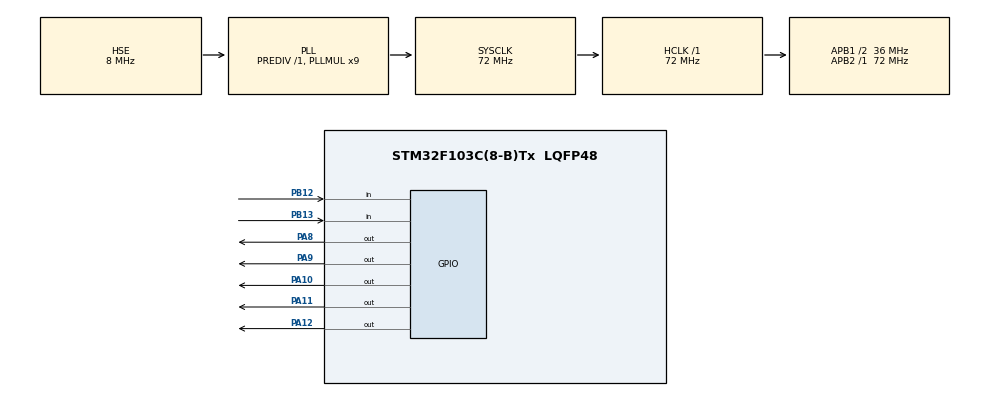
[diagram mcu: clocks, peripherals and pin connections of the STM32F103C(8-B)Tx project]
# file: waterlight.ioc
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Mcu.Family=STM32F1
Mcu.Name=STM32F103C(8-B)Tx
Mcu.Package=LQFP48
NVIC.PriorityGroup=NVIC_PRIORITYGROUP_4
PA10.PinState=GPIO_PIN_SET
PA10.Signal=GPIO_Output
PA11.PinState=GPIO_PIN_SET
PA11.Signal=GPIO_Output
PA12.PinState=GPIO_PIN_SET
PA12.Signal=GPIO_Output
PA13.Mode=Serial_Wire
PA13.Signal=SYS_JTMS-SWDIO
PA14.Mode=Serial_Wire
PA14.Signal=SYS_JTCK-SWCLK
PA8.PinState=GPIO_PIN_SET
PA8.Signal=GPIO_Output
PA9.PinState=GPIO_PIN_SET
PA9.Signal=GPIO_Output
PB12.GPIO_PuPd=GPIO_PULLUP
PB12.Signal=GPIO_Input
PB13.GPIO_PuPd=GPIO_PULLUP
PB13.Signal=GPIO_Input
PD0-OSC_IN.Mode=HSE-External-Oscillator
PD0-OSC_IN.Signal=RCC_OSC_IN
PD1-OSC_OUT.Mode=HSE-External-Oscillator
PD1-OSC_OUT.Signal=RCC_OSC_OUT
ProjectManager.HeapSize=0x200
ProjectManager.StackSize=0x400
ProjectManager.TargetToolchain=MDK-ARM V5.32
RCC.AHBFreq_Value=72000000
RCC.APB1CLKDivider=RCC_HCLK_DIV2
RCC.APB1Freq_Value=36000000
RCC.APB1TimFreq_Value=72000000
RCC.APB2Freq_Value=72000000
RCC.APB2TimFreq_Value=72000000
RCC.HCLKFreq_Value=72000000
RCC.PLLMUL=RCC_PLL_MUL9
RCC.PLLSourceVirtual=RCC_PLLSOURCE_HSE
RCC.SYSCLKFreq_VALUE=72000000
RCC.SYSCLKSource=RCC_SYSCLKSOURCE_PLLCLK
RCC.USBFreq_Value=72000000
board=custom

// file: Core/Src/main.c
/* USER CODE BEGIN Header */
/**
  ******************************************************************************
  * @file           : main.c
  * @brief          : Main program body
  ******************************************************************************
  * @attention
  *
  * Copyright (c) 2026 STMicroelectronics.
  * All rights reserved.
  *
  * This software is licensed under terms that can be found in the LICENSE file
  * in the root directory of this software component.
  * If no LICENSE file comes with this software, it is provided AS-IS.
  *
  ******************************************************************************
  */
/* USER CODE END Header */
#include "main.h"

/* USER CODE BEGIN PV */

//???????????,????1:
uint8_t key_pre_mode = 1;
//???????????,????1:
uint8_t key_cur_mode =1;
//???????????,????1:
uint8_t key_pre_speed = 1;
//???????????,????1:
uint8_t key_cur_speed = 1;
//???????????????,????0
uint8_t ledMode_step_cur=0;

/* USER CODE END PV */

void SystemClock_Config(void);
static void MX_GPIO_Init(void);
/* USER CODE BEGIN PFP */

//??????
uint8_t LED_mode(uint8_t mode,uint8_t step_cur);

/* USER CODE END PFP */

/* USER CODE BEGIN 0 */

//??????ledMode,????0
uint8_t ledMode=0;
int TperLED = 100; //ms ,???????????????

/* USER CODE END 0 */

int main(void)
{

  /* MCU Configuration--------------------------------------------------------*/

  /* Reset of all peripherals, Initializes the Flash interface and the Systick. */
  HAL_Init();

  /* Configure the system clock */
  SystemClock_Config();

  /* Initialize all configured peripherals */
  MX_GPIO_Init();

  /* Infinite loop */
  /* USER CODE BEGIN WHILE */
  while (1)
  {

				//1. ????,????????
		key_cur_speed = HAL_GPIO_ReadPin(GPIOB,GPIO_PIN_12);
		if(key_cur_speed==0 && key_pre_speed==1)
		{
		//HAL_GPIO_TogglePin(GPIOA, GPIO_PIN_11|GPIO_PIN_12); //?????????
				switch(TperLED)
				{
					case 100:
					TperLED = 200;
					break;
					case 200:
					TperLED = 500;
					break;
					case 500:
					TperLED = 100;
					break;
				}
		}
key_pre_speed=key_cur_speed;
//2. ????,????????
			key_cur_mode=HAL_GPIO_ReadPin(GPIOB,GPIO_PIN_13);
			if(key_cur_mode==0 && key_pre_mode==1)
			{
			//
			HAL_GPIO_TogglePin(GPIOA, GPIO_PIN_8|GPIO_PIN_9); //?????????
			//ledMode=(ledMode+1)%3;
			if(ledMode == 0)
			{
			ledMode = 1;
			}
			else if(ledMode==1){
			ledMode=2;
			}
			else
			{
			ledMode = 0;
			}
			ledMode_step_cur=0;//?????????,?????????????,??Bug
			//?????,??LED ??
			HAL_GPIO_WritePin(GPIOA, GPIO_PIN_8|GPIO_PIN_9| GPIO_PIN_10 \
			|GPIO_PIN_11|GPIO_PIN_12,GPIO_PIN_SET);
			}
			key_pre_mode=key_cur_mode;
			//3. ???,??????????
			ledMode_step_cur=LED_mode(ledMode,ledMode_step_cur);

    /* USER CODE END WHILE */

  }
}

void SystemClock_Config(void)
{
  RCC_OscInitTypeDef RCC_OscInitStruct = {0};
  RCC_ClkInitTypeDef RCC_ClkInitStruct = {0};

  /** Initializes the RCC Oscillators according to the specified parameters
  * in the RCC_OscInitTypeDef structure.
  */
  RCC_OscInitStruct.OscillatorType = RCC_OSCILLATORTYPE_HSE;
  RCC_OscInitStruct.HSEState = RCC_HSE_ON;
  RCC_OscInitStruct.HSEPredivValue = RCC_HSE_PREDIV_DIV1;
  RCC_OscInitStruct.HSIState = RCC_HSI_ON;
  RCC_OscInitStruct.PLL.PLLState = RCC_PLL_ON;
  RCC_OscInitStruct.PLL.PLLSource = RCC_PLLSOURCE_HSE;
  RCC_OscInitStruct.PLL.PLLMUL = RCC_PLL_MUL9;
  if (HAL_RCC_OscConfig(&RCC_OscInitStruct) != HAL_OK)
  {
    Error_Handler();
  }

  /** Initializes the CPU, AHB and APB buses clocks
  */
  RCC_ClkInitStruct.ClockType = RCC_CLOCKTYPE_HCLK|RCC_CLOCKTYPE_SYSCLK
                              |RCC_CLOCKTYPE_PCLK1|RCC_CLOCKTYPE_PCLK2;
  RCC_ClkInitStruct.SYSCLKSource = RCC_SYSCLKSOURCE_PLLCLK;
  RCC_ClkInitStruct.AHBCLKDivider = RCC_SYSCLK_DIV1;
  RCC_ClkInitStruct.APB1CLKDivider = RCC_HCLK_DIV2;
  RCC_ClkInitStruct.APB2CLKDivider = RCC_HCLK_DIV1;

  if (HAL_RCC_ClockConfig(&RCC_ClkInitStruct, FLASH_LATENCY_2) != HAL_OK)
  {
    Error_Handler();
  }
}

static void MX_GPIO_Init(void)
{
  GPIO_InitTypeDef GPIO_InitStruct = {0};

  /* GPIO Ports Clock Enable */
  __HAL_RCC_GPIOD_CLK_ENABLE();
  __HAL_RCC_GPIOB_CLK_ENABLE();
  __HAL_RCC_GPIOA_CLK_ENABLE();

  /*Configure GPIO pin Output Level */
  HAL_GPIO_WritePin(GPIOA, GPIO_PIN_8|GPIO_PIN_9|GPIO_PIN_10|GPIO_PIN_11
                          |GPIO_PIN_12, GPIO_PIN_SET);

  /*Configure GPIO pins : PB12 PB13 */
  GPIO_InitStruct.Pin = GPIO_PIN_12|GPIO_PIN_13;
  GPIO_InitStruct.Mode = GPIO_MODE_INPUT;
  GPIO_InitStruct.Pull = GPIO_PULLUP;
  HAL_GPIO_Init(GPIOB, &GPIO_InitStruct);

  /*Configure GPIO pins : PA8 PA9 PA10 PA11
                           PA12 */
  GPIO_InitStruct.Pin = GPIO_PIN_8|GPIO_PIN_9|GPIO_PIN_10|GPIO_PIN_11
                          |GPIO_PIN_12;
  GPIO_InitStruct.Mode = GPIO_MODE_OUTPUT_PP;
  GPIO_InitStruct.Pull = GPIO_NOPULL;
  GPIO_InitStruct.Speed = GPIO_SPEED_FREQ_LOW;
  HAL_GPIO_Init(GPIOA, &GPIO_InitStruct);

}

/* USER CODE BEGIN 4 */

/**
* @brief ??: ????,????????????
* @param
??????:
mode:????
step_cur:??????????
* @retval ??????:???
*/
uint8_t LED_mode(uint8_t mode,uint8_t step_cur)
{
switch(mode)
{
case 0://??0,?????????LED
switch(step_cur)
{
case 0:
HAL_GPIO_WritePin(GPIOA, GPIO_PIN_8|GPIO_PIN_9| GPIO_PIN_10\
|GPIO_PIN_11|GPIO_PIN_12,GPIO_PIN_SET);
HAL_GPIO_WritePin(GPIOA, GPIO_PIN_8,GPIO_PIN_RESET);
HAL_Delay(TperLED);
return step_cur+1;
case 1:
HAL_GPIO_WritePin(GPIOA, GPIO_PIN_8|GPIO_PIN_9| GPIO_PIN_10 \
|GPIO_PIN_11|GPIO_PIN_12,GPIO_PIN_SET);
HAL_GPIO_WritePin(GPIOA, GPIO_PIN_9,GPIO_PIN_RESET);
HAL_Delay(TperLED);
return step_cur+1;
case 2:
HAL_GPIO_WritePin(GPIOA, GPIO_PIN_8|GPIO_PIN_9| GPIO_PIN_10 \
|GPIO_PIN_11|GPIO_PIN_12,GPIO_PIN_SET);
HAL_GPIO_WritePin(GPIOA, GPIO_PIN_10,GPIO_PIN_RESET);
HAL_Delay(TperLED);
return step_cur+1;
case 3:
HAL_GPIO_WritePin(GPIOA, GPIO_PIN_8|GPIO_PIN_9| GPIO_PIN_10 \
|GPIO_PIN_11|GPIO_PIN_12,GPIO_PIN_SET);
HAL_GPIO_WritePin(GPIOA, GPIO_PIN_11,GPIO_PIN_RESET);
HAL_Delay(TperLED);
return step_cur+1;
case 4:
HAL_GPIO_WritePin(GPIOA, GPIO_PIN_8|GPIO_PIN_9| GPIO_PIN_10 \
|GPIO_PIN_11|GPIO_PIN_12,GPIO_PIN_SET);
HAL_GPIO_WritePin(GPIOA, GPIO_PIN_12,GPIO_PIN_RESET);
HAL_Delay(TperLED);
return 0;
} //end ??0
break;//??break ??????,????switch ??return ??????
//?,?????switch-case ???????break
case 1: //??1 ,??LED ???,??2*TperLED ???,???,?????
switch(step_cur)
{
case 0:
HAL_GPIO_WritePin(GPIOA, GPIO_PIN_8|GPIO_PIN_9| GPIO_PIN_10 \
|GPIO_PIN_11|GPIO_PIN_12,GPIO_PIN_SET);
HAL_Delay(2*TperLED);
return step_cur+1;
case 1:
HAL_GPIO_WritePin(GPIOA, GPIO_PIN_8|GPIO_PIN_9| GPIO_PIN_10 \
|GPIO_PIN_11|GPIO_PIN_12,GPIO_PIN_RESET);
HAL_Delay(2*TperLED);
return 0;

}

case 2://??0,?????????LED
switch(step_cur)
{
case 4:
HAL_GPIO_WritePin(GPIOA, GPIO_PIN_8|GPIO_PIN_9| GPIO_PIN_10\
|GPIO_PIN_11|GPIO_PIN_12,GPIO_PIN_SET);
HAL_GPIO_WritePin(GPIOA, GPIO_PIN_8,GPIO_PIN_RESET);
HAL_Delay(TperLED);
return 0;
case 3:
HAL_GPIO_WritePin(GPIOA, GPIO_PIN_8|GPIO_PIN_9| GPIO_PIN_10 \
|GPIO_PIN_11|GPIO_PIN_12,GPIO_PIN_SET);
HAL_GPIO_WritePin(GPIOA, GPIO_PIN_9,GPIO_PIN_RESET);
HAL_Delay(TperLED);
return step_cur+1;
case 2:
HAL_GPIO_WritePin(GPIOA, GPIO_PIN_8|GPIO_PIN_9| GPIO_PIN_10 \
|GPIO_PIN_11|GPIO_PIN_12,GPIO_PIN_SET);
HAL_GPIO_WritePin(GPIOA, GPIO_PIN_10,GPIO_PIN_RESET);
HAL_Delay(TperLED);
return step_cur+1;
case 1:
HAL_GPIO_WritePin(GPIOA, GPIO_PIN_8|GPIO_PIN_9| GPIO_PIN_10 \
|GPIO_PIN_11|GPIO_PIN_12,GPIO_PIN_SET);
HAL_GPIO_WritePin(GPIOA, GPIO_PIN_11,GPIO_PIN_RESET);
HAL_Delay(TperLED);
return step_cur+1;
case 0:
HAL_GPIO_WritePin(GPIOA, GPIO_PIN_8|GPIO_PIN_9| GPIO_PIN_10 \
|GPIO_PIN_11|GPIO_PIN_12,GPIO_PIN_SET);
HAL_GPIO_WritePin(GPIOA, GPIO_PIN_12,GPIO_PIN_RESET);
HAL_Delay(TperLED);
return step_cur+1;
} //end ??0
break;

} //end switch mode
//????return,????????return;??,????break,??return
}

/* USER CODE END 4 */

void Error_Handler(void)
{
  __disable_irq();
  while (1)
  {
  }
}
